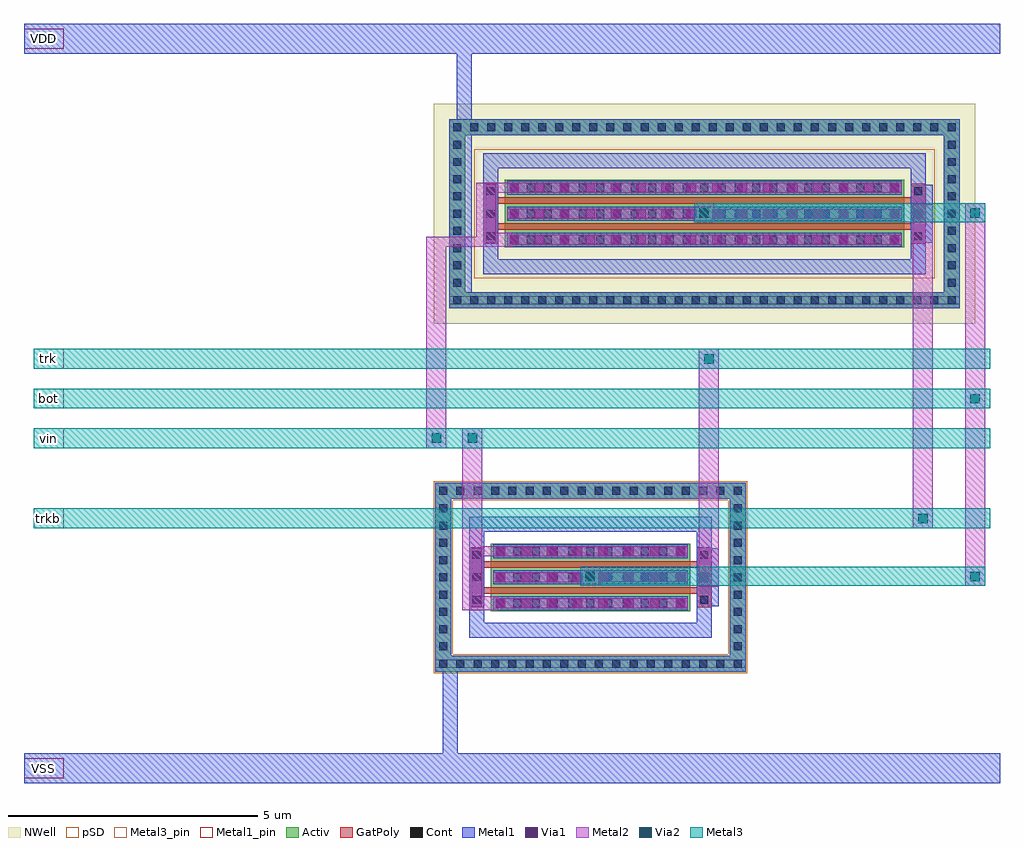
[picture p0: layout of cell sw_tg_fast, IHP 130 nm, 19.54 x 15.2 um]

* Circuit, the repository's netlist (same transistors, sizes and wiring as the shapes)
* parameterized plain transmission gate
.subckt sw_tg_fast bot vin trk trkb VDD VSS
MNT bot trk vin VSS sg13_lv_nmos w=8.0u l=0.13u rfmode=1
MPT bot trkb vin VDD sg13_lv_pmos w=16.0u l=0.13u rfmode=1
.ends

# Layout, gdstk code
import gdstk
lib = gdstk.Library(unit=1e-6, precision=1e-09)
def R(c, l, rs):  # rectangles x0, y0, x1, y1
    for r in rs: c.add(gdstk.rectangle(r[:2], r[2:], *l))
def A(c, l, x, y, w, h, nx, ny, dx, dy):  # array of equal rectangles
    R(c, l, [(x+i*dx, y+j*dy, x+i*dx+w, y+j*dy+h) for i in range(nx) for j in range(ny)])
def P(c, l, *ps):  # polygons
    for p in ps: c.add(gdstk.Polygon(p, *l))
Activ = (1, 0)
GatPoly = (5, 0)
Cont = (6, 0)
Metal1 = (8, 0)
Metal1_pin = (8, 2)
Metal2 = (10, 0)
pSD = (14, 0)
Via1 = (19, 0)
Via2 = (29, 0)
Metal3 = (30, 0)
Metal3_pin = (30, 2)
NWell = (31, 0)

rfnmos = lib.new_cell('rfnmos')
R(rfnmos, Activ, [(1.14,1.245,5.14,2.595)])
P(rfnmos, Activ, [(0.03,0.03),(0.03,3.49),(0.35,3.49),(0.35,0.35),(5.93,0.35),(5.93,3.49),(0.03,3.49),(0.03,3.81),(6.25,3.81),(6.25,0.03)])
R(rfnmos, GatPoly, [(0.71,1.32,1.01,2.52), (5.27,1.32,5.57,2.52), (1.01,1.595,5.27,1.725), (1.01,2.115,5.27,2.245)])
A(rfnmos, Cont, 0.11, 0.11, 0.16, 0.16, 3, 2, 0.345, 3.46)
A(rfnmos, Cont, 1.845, 0.11, 0.16, 0.16, 3, 2, 0.345, 3.46)
A(rfnmos, Cont, 3.58, 0.11, 0.16, 0.16, 3, 2, 0.345, 3.46)
A(rfnmos, Cont, 0.11, 0.46, 0.16, 0.16, 1, 9, 0, 0.345)
A(rfnmos, Cont, 6.01, 0.46, 0.16, 0.16, 1, 9, 0, 0.345)
A(rfnmos, Cont, 1.24, 1.32, 0.16, 0.16, 1, 3, 0, 0.52)
A(rfnmos, Cont, 1.6, 1.32, 0.16, 0.16, 5, 3, 0.365, 0.52)
A(rfnmos, Cont, 3.42, 1.32, 0.16, 0.16, 5, 3, 0.365, 0.52)
A(rfnmos, Cont, 0.78, 1.39, 0.16, 0.16, 1, 3, 0, 0.45)
A(rfnmos, Cont, 5.34, 1.39, 0.16, 0.16, 1, 3, 0, 0.45)
R(rfnmos, Cont, [(1.15,0.11,1.31,0.27), (1.495,0.11,1.655,0.27), (2.885,0.11,3.045,0.27), (3.23,0.11,3.39,0.27), (4.62,0.11,4.78,0.27), (4.965,0.11,5.125,0.27), (5.315,0.11,5.475,0.27), (5.66,0.11,5.82,0.27), (6.01,0.11,6.17,0.27), (1.15,3.57,1.31,3.73), (1.495,3.57,1.655,3.73), (2.885,3.57,3.045,3.73), (3.23,3.57,3.39,3.73), (4.62,3.57,4.78,3.73), (4.965,3.57,5.125,3.73), (5.315,3.57,5.475,3.73), (5.66,3.57,5.82,3.73), (6.01,3.57,6.17,3.73)])
A(rfnmos, Metal1, 1.19, 1.26, 3.9, 0.28, 1, 3, 0, 0.52)
R(rfnmos, Metal1, [(0.03,0.03,6.25,0.35), (0.03,0.35,0.35,3.49), (5.93,0.35,6.25,3.49), (0.76,1.34,0.96,2.5), (5.32,1.34,5.52,2.5), (0.03,3.49,6.25,3.81)])
P(rfnmos, Metal1, [(0.71,0.71),(0.71,2.83),(1.01,2.83),(1.01,1.01),(5.27,1.01),(5.27,2.83),(0.71,2.83),(0.71,3.13),(5.57,3.13),(5.57,0.71)])
R(rfnmos, Metal1_pin, [(0.03,0.11,6.25,0.27), (0.03,0.11,6.25,0.27), (1.19,1.26,5.09,1.54), (1.19,1.26,5.09,1.54), (0.76,1.34,0.96,2.5), (0.76,1.34,0.96,2.5), (1.19,1.78,5.09,2.06), (1.19,1.78,5.09,2.06)])
A(rfnmos, Metal2, 1.19, 1.3, 3.9, 0.2, 1, 3, 0, 0.52)
P(rfnmos, pSD, [(0,0),(0,3.46),(0.38,3.46),(0.38,0.38),(5.9,0.38),(5.9,3.46),(0,3.46),(0,3.84),(6.28,3.84),(6.28,0)])
A(rfnmos, Via1, 1.24, 1.305, 0.19, 0.19, 7, 3, 0.515, 0.52)
A(rfnmos, Via1, 4.85, 1.305, 0.19, 0.19, 1, 3, 0, 0.52)
rfnmos.add(gdstk.Label('S', (3.14,1.42), layer=63, texttype=0))
rfnmos.add(gdstk.Label('D', (3.14,1.94), layer=63, texttype=0))
rfnmos.add(gdstk.Label('G', (0.86,1.92), layer=63, texttype=0))
rfnmos.add(gdstk.Label('TIE', (3.14,0.19), layer=63, texttype=0))
rfnmos.add(gdstk.Label('rfnmos', (3.14,3.65), layer=63, texttype=0))

rfpmos = lib.new_cell('rfpmos')
R(rfpmos, Activ, [(1.42,1.525,9.42,2.875)])
P(rfpmos, Activ, [(0.31,0.31),(0.31,3.77),(0.63,3.77),(0.63,0.63),(10.21,0.63),(10.21,3.77),(0.31,3.77),(0.31,4.09),(10.53,4.09),(10.53,0.31)])
R(rfpmos, GatPoly, [(0.99,1.6,1.29,2.8), (9.55,1.6,9.85,2.8), (1.29,1.875,9.55,2.005), (1.29,2.395,9.55,2.525)])
A(rfpmos, Cont, 0.39, 0.39, 0.16, 0.16, 4, 2, 0.34, 3.46)
A(rfpmos, Cont, 1.755, 0.39, 0.16, 0.16, 4, 2, 0.34, 3.46)
A(rfpmos, Cont, 3.12, 0.39, 0.16, 0.16, 3, 2, 0.34, 3.46)
A(rfpmos, Cont, 4.145, 0.39, 0.16, 0.16, 4, 2, 0.34, 3.46)
A(rfpmos, Cont, 5.51, 0.39, 0.16, 0.16, 4, 2, 0.34, 3.46)
A(rfpmos, Cont, 6.875, 0.39, 0.16, 0.16, 3, 2, 0.34, 3.46)
A(rfpmos, Cont, 7.9, 0.39, 0.16, 0.16, 4, 2, 0.34, 3.46)
A(rfpmos, Cont, 9.265, 0.39, 0.16, 0.16, 3, 2, 0.34, 3.46)
A(rfpmos, Cont, 0.39, 0.74, 0.16, 0.16, 1, 9, 0, 0.345)
A(rfpmos, Cont, 10.29, 0.74, 0.16, 0.16, 1, 9, 0, 0.345)
A(rfpmos, Cont, 1.52, 1.6, 0.16, 0.16, 3, 3, 0.345, 0.52)
A(rfpmos, Cont, 2.56, 1.6, 0.16, 0.16, 1, 3, 0, 0.52)
A(rfpmos, Cont, 2.905, 1.6, 0.16, 0.16, 1, 3, 0, 0.52)
A(rfpmos, Cont, 3.255, 1.6, 0.16, 0.16, 1, 3, 0, 0.52)
A(rfpmos, Cont, 3.6, 1.6, 0.16, 0.16, 1, 3, 0, 0.52)
A(rfpmos, Cont, 3.95, 1.6, 0.16, 0.16, 1, 3, 0, 0.52)
A(rfpmos, Cont, 4.295, 1.6, 0.16, 0.16, 1, 3, 0, 0.52)
A(rfpmos, Cont, 4.645, 1.6, 0.16, 0.16, 1, 3, 0, 0.52)
A(rfpmos, Cont, 4.99, 1.6, 0.16, 0.16, 1, 3, 0, 0.52)
A(rfpmos, Cont, 5.34, 1.6, 0.16, 0.16, 3, 3, 0.345, 0.52)
A(rfpmos, Cont, 6.38, 1.6, 0.16, 0.16, 1, 3, 0, 0.52)
A(rfpmos, Cont, 6.725, 1.6, 0.16, 0.16, 1, 3, 0, 0.52)
A(rfpmos, Cont, 7.075, 1.6, 0.16, 0.16, 1, 3, 0, 0.52)
A(rfpmos, Cont, 7.42, 1.6, 0.16, 0.16, 1, 3, 0, 0.52)
A(rfpmos, Cont, 7.77, 1.6, 0.16, 0.16, 1, 3, 0, 0.52)
A(rfpmos, Cont, 8.115, 1.6, 0.16, 0.16, 1, 3, 0, 0.52)
A(rfpmos, Cont, 8.465, 1.6, 0.16, 0.16, 1, 3, 0, 0.52)
A(rfpmos, Cont, 8.81, 1.6, 0.16, 0.16, 1, 3, 0, 0.52)
A(rfpmos, Cont, 9.16, 1.6, 0.16, 0.16, 1, 3, 0, 0.52)
A(rfpmos, Cont, 1.06, 1.67, 0.16, 0.16, 1, 3, 0, 0.45)
A(rfpmos, Cont, 9.62, 1.67, 0.16, 0.16, 1, 3, 0, 0.45)
R(rfpmos, Cont, [(10.29,0.39,10.45,0.55), (10.29,3.85,10.45,4.01)])
A(rfpmos, Metal1, 1.47, 1.54, 7.9, 0.28, 1, 3, 0, 0.52)
R(rfpmos, Metal1, [(0.31,0.31,10.53,0.63), (0.31,0.63,0.63,3.77), (10.21,0.63,10.53,3.77), (1.04,1.62,1.24,2.78), (9.6,1.62,9.8,2.78), (0.31,3.77,10.53,4.09)])
P(rfpmos, Metal1, [(0.99,0.99),(0.99,3.11),(1.29,3.11),(1.29,1.29),(9.55,1.29),(9.55,3.11),(0.99,3.11),(0.99,3.41),(9.85,3.41),(9.85,0.99)])
R(rfpmos, Metal1_pin, [(0.31,0.39,10.53,0.55), (0.31,0.39,10.53,0.55), (1.47,1.54,9.37,1.82), (1.47,1.54,9.37,1.82), (1.04,1.62,1.24,2.78), (1.04,1.62,1.24,2.78), (1.47,2.06,9.37,2.34), (1.47,2.06,9.37,2.34)])
A(rfpmos, Metal2, 1.47, 1.58, 7.9, 0.2, 1, 3, 0, 0.52)
R(rfpmos, pSD, [(0.81,0.91,10.03,3.49)])
A(rfpmos, Via1, 1.52, 1.585, 0.19, 0.19, 3, 3, 0.505, 0.52)
A(rfpmos, Via1, 3.04, 1.585, 0.19, 0.19, 1, 3, 0, 0.52)
A(rfpmos, Via1, 3.545, 1.585, 0.19, 0.19, 1, 3, 0, 0.52)
A(rfpmos, Via1, 4.055, 1.585, 0.19, 0.19, 1, 3, 0, 0.52)
A(rfpmos, Via1, 4.56, 1.585, 0.19, 0.19, 1, 3, 0, 0.52)
A(rfpmos, Via1, 5.07, 1.585, 0.19, 0.19, 1, 3, 0, 0.52)
A(rfpmos, Via1, 5.575, 1.585, 0.19, 0.19, 1, 3, 0, 0.52)
A(rfpmos, Via1, 6.085, 1.585, 0.19, 0.19, 1, 3, 0, 0.52)
A(rfpmos, Via1, 6.59, 1.585, 0.19, 0.19, 1, 3, 0, 0.52)
A(rfpmos, Via1, 7.1, 1.585, 0.19, 0.19, 1, 3, 0, 0.52)
A(rfpmos, Via1, 7.605, 1.585, 0.19, 0.19, 1, 3, 0, 0.52)
A(rfpmos, Via1, 8.115, 1.585, 0.19, 0.19, 1, 3, 0, 0.52)
A(rfpmos, Via1, 8.62, 1.585, 0.19, 0.19, 1, 3, 0, 0.52)
A(rfpmos, Via1, 9.13, 1.585, 0.19, 0.19, 1, 3, 0, 0.52)
R(rfpmos, NWell, [(0,0,10.84,4.4)])
rfpmos.add(gdstk.Label('S', (5.42,1.7), layer=63, texttype=0))
rfpmos.add(gdstk.Label('D', (5.42,2.22), layer=63, texttype=0))
rfpmos.add(gdstk.Label('G', (1.14,2.2), layer=63, texttype=0))
rfpmos.add(gdstk.Label('TIE', (5.42,0.47), layer=63, texttype=0))
rfpmos.add(gdstk.Label('rfpmos', (5.42,3.93), layer=63, texttype=0))

sw_tg_fast = lib.new_cell('sw_tg_fast')
R(sw_tg_fast, Metal1, [(-1.2,-2.2,18.34,-1.6), (7.18,-1.6,7.48,0.23), (12.31,1.34,12.71,2.5), (7.46,7.44,7.76,12.4), (16.59,8.62,16.99,9.78), (-1.2,12.4,18.34,13)])
R(sw_tg_fast, Metal1_pin, [(-1.2,-2.1,-0.4,-1.7), (-1.2,12.5,-0.4,12.9)])
R(sw_tg_fast, Metal2, [(7.57,1.26,8.29,1.54), (7.57,1.26,7.97,2.54), (12.31,1.73,12.71,2.11), (9.94,1.75,10.34,2.13), (17.64,1.75,18.04,2.13), (12.31,1.92,12.71,6.3), (17.64,1.94,18.04,5.5), (7.57,2.34,8.29,2.54), (7.57,2.4,7.97,4.9), (16.59,2.9,16.99,3.3), (16.59,3.1,16.99,9.2), (6.85,4.5,7.25,4.9), (6.85,4.5,7.25,8.74), (7.57,4.5,7.97,4.9), (17.64,5.3,18.04,5.7), (17.64,5.3,18.04,5.7), (17.64,5.5,18.04,9.22), (12.31,6.1,12.71,6.5), (6.85,8.54,8.25,8.74), (7.85,8.54,8.57,8.82), (7.85,8.54,8.25,9.82), (16.59,9.01,16.99,9.39), (12.22,9.03,12.62,9.41), (17.64,9.03,18.04,9.41), (7.85,9.62,8.57,9.82)])
R(sw_tg_fast, Via1, [(12.32,1.82,12.51,2.01), (16.6,9.1,16.79,9.29)])
R(sw_tg_fast, Via2, [(10.04,1.84,10.23,2.03), (17.74,1.84,17.93,2.03), (16.7,3,16.89,3.19), (6.96,4.61,7.15,4.8), (7.68,4.61,7.87,4.8), (17.74,5.4,17.93,5.59), (17.74,5.4,17.93,5.59), (12.42,6.2,12.61,6.39), (12.32,9.12,12.51,9.31), (17.74,9.12,17.93,9.31)])
A(sw_tg_fast, Metal3, -1, 4.5, 19.14, 0.4, 1, 3, 0, 0.8)
R(sw_tg_fast, Metal3, [(9.94,1.75,18.04,2.13), (9.94,1.75,10.34,2.13), (17.64,1.75,18.04,2.13), (-1,2.9,18.14,3.3), (16.59,2.9,16.99,3.3), (6.85,4.5,7.25,4.9), (7.57,4.5,7.97,4.9), (17.64,5.3,18.04,5.7), (17.64,5.3,18.04,5.7), (12.31,6.1,12.71,6.5), (12.22,9.03,12.62,9.41), (12.22,9.03,18.04,9.41), (17.64,9.03,18.04,9.41)])
A(sw_tg_fast, Metal3_pin, -1, 4.5, 0.6, 0.4, 1, 3, 0, 0.8)
R(sw_tg_fast, Metal3_pin, [(-1,2.9,-0.4,3.3)])
sw_tg_fast.add(gdstk.Reference(rfnmos, (7,0)))
sw_tg_fast.add(gdstk.Reference(rfpmos, (7,7)))
sw_tg_fast.add(gdstk.Label('VSS', (-0.8,-1.9), layer=8, texttype=25))
sw_tg_fast.add(gdstk.Label('VDD', (-0.8,12.7), layer=8, texttype=25))
sw_tg_fast.add(gdstk.Label('bot', (-0.7,5.5), layer=30, texttype=25))
sw_tg_fast.add(gdstk.Label('vin', (-0.7,4.7), layer=30, texttype=25))
sw_tg_fast.add(gdstk.Label('trkb', (-0.7,3.1), layer=30, texttype=25))
sw_tg_fast.add(gdstk.Label('trk', (-0.7,6.3), layer=30, texttype=25))

lib.write_gds('sw_tg_fast.gds')
